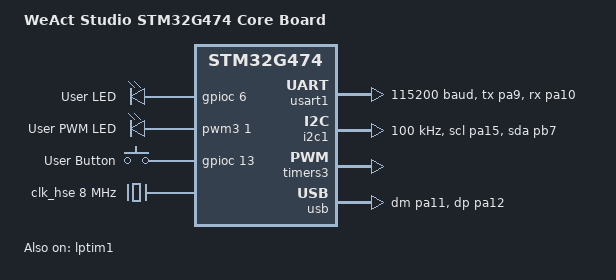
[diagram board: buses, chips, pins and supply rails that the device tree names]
/dts-v1/;
#include <st/g4/stm32g474Xb.dtsi>
#include <st/g4/stm32g474c(b-c-e)ux-pinctrl.dtsi>
#include <zephyr/dt-bindings/input/input-event-codes.h>

/ {
	model = "WeAct Studio STM32G474 Core Board";
	compatible = "st,stm32g474";

	chosen {
		zephyr,console = &usart1;
		zephyr,shell-uart = &usart1;
		zephyr,sram = &sram0;
		zephyr,flash = &flash0;
		zephyr,system-timer = &lptim1;
	};

	/* Standard GPIO LED definition, with led0 at PC6 */
	leds {
		compatible = "gpio-leds";
		user_led: led_0 {
			gpios = <&gpioc 6 GPIO_ACTIVE_HIGH>;
			label = "User LED";
		};
	};

	/* PWM LED definition, with pwmled0 also at PC6 (via pwm3) - can only use this or led0, not simultaneous */
	pwmleds {
		compatible = "pwm-leds";
		pwm_led0: pwm_led_0 {
			pwms = <&pwm3 1 PWM_MSEC(20) PWM_POLARITY_NORMAL>;
			label = "User PWM LED";
		};
	};

	/* Onboard WeAct User Key Profile */
	buttons {
		compatible = "gpio-keys";
		user_button: button_0 {
			gpios = <&gpioc 13 (GPIO_PULL_DOWN | GPIO_ACTIVE_HIGH)>;
			label = "User Button";
			zephyr,code = <INPUT_KEY_0>;
		};
	};

	/* Global Application Software Aliases */
	aliases {
		led0 = &user_led;
		pwm-led0 = &pwm_led0; /* Required by blinky_pwm application */
		sw0 = &user_button;
	};
};

&flash0 {
	reg = <0x08000000 DT_SIZE_K(512)>;
};

&sram0 {
	reg = <0x20000000 DT_SIZE_K(128)>;
};

/* High-Speed External: Configures the Physical 8MHz External Crystal (HSE) Oscillator */
&clk_hse {
	clock-frequency = <DT_FREQ_M(8)>;
	status = "okay";
};

/* Configures the PLL to step up the 8MHz input cleanly to 170MHz (and to 42M5Hz for Q) */
/* HSE / M * N / {R, Q} */
/*  VCO Frequency: Input(8MHz) / div-m(2) x mul-n(85) = 340MHz
    System Clock (PLLCLK via R): VCO(340MHz) / div-r(2) = 170MHz
    USB Clock (PLLQ): VCO(340MHz) / div-q(8) = 42.5MHz (Note: USB requires 48 MHz, so HSI48 must be used for USB instead)
*/
&pll {
	div-m = <2>;
	mul-n = <85>;
	div-p = <2>;
	div-q = <8>;
	div-r = <2>;
	clocks = <&clk_hse>;
	status = "okay";
};


&lptim1 {
	clocks = <&rcc STM32_CLOCK(APB1, 31)>,
		     <&rcc STM32_SRC_LSI LPTIM1_SEL(1)>;
	status = "okay";
};

&rcc {
	clocks = <&pll>;
	clock-frequency = <DT_FREQ_M(170)>; /* Sets core CPU to 128MHz; works up to 170MHz */
	ahb-prescaler = <1>;
	apb1-prescaler = <1>;
	apb2-prescaler = <1>;
};

/* Pin Assignment for 48-Pin Package */
&usart1 {
	pinctrl-0 = <&usart1_tx_pa9 &usart1_rx_pa10>;
	pinctrl-names = "default";
	current-speed = <115200>;
	status = "okay";
};

&clk_hsi48 {
    status = "okay";
};

/* Low-Speed Internal: 32 kHz */
&clk_lsi {
    status = "okay";
};

&i2c1 {
    pinctrl-0 = <&i2c1_scl_pa15 &i2c1_sda_pb7>;
	pinctrl-names = "default";
	clock-frequency = <I2C_BITRATE_STANDARD>;
	status = "okay";

   /* 
	scl-gpios = <&gpioa 15 GPIO_ACTIVE_HIGH>;
	sda-gpios = <&gpiob 7 GPIO_ACTIVE_HIGH>;
	clock-frequency = <I2C_BITRATE_FAST>; */
};

/* Enable Timer 3 and multiplex Channel 1 onto PC6 */
&timers3 {
	st,prescaler = <10000>;
	status = "okay";

	pwm3: pwm {
		status = "okay";
		pinctrl-0 = <&tim3_ch1_pc6>; /* STM32 Multiplexing Rule for PC6 */
		pinctrl-names = "default";
	};
};

zephyr_udc0: &usb {
	pinctrl-0 = <&usb_dm_pa11 &usb_dp_pa12>;
	pinctrl-names = "default";
	status = "okay";
};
